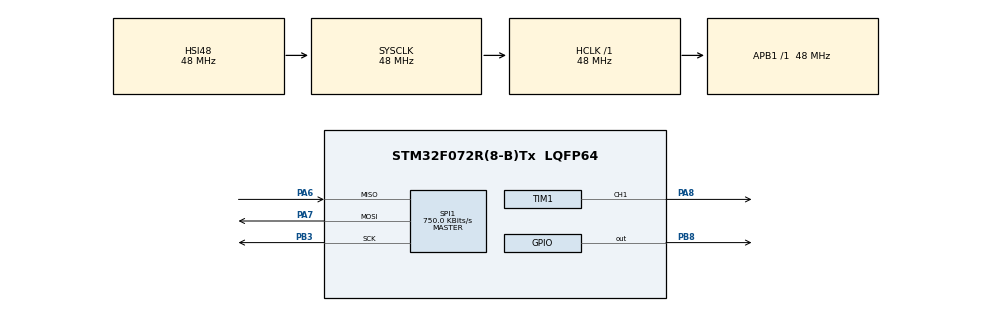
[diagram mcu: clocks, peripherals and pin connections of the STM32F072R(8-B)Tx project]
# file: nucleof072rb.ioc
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Mcu.Family=STM32F0
Mcu.Name=STM32F072R(8-B)Tx
Mcu.Package=LQFP64
PA6.Mode=Full_Duplex_Master
PA6.Signal=SPI1_MISO
PA7.Mode=Full_Duplex_Master
PA7.Signal=SPI1_MOSI
PA8.Signal=S_TIM1_CH1
PB3.Mode=Full_Duplex_Master
PB3.Signal=SPI1_SCK
PB8.Signal=GPIO_Output
ProjectManager.HeapSize=0x200
ProjectManager.StackSize=0x400
ProjectManager.TargetToolchain=STM32CubeIDE
RCC.AHBFreq_Value=48000000
RCC.APB1Freq_Value=48000000
RCC.APB1TimFreq_Value=48000000
RCC.FLatency-AdvancedSettings=FLASH_LATENCY_1
RCC.HCLKFreq_Value=48000000
RCC.PLLDivider=RCC_PREDIV_DIV2
RCC.PLLMUL=RCC_PLL_MUL12
RCC.PREFETCH_ENABLE-AdvancedSettings=1
RCC.SYSCLKFreq_VALUE=48000000
RCC.SYSCLKSource=RCC_SYSCLKSOURCE_HSI48
SH.S_TIM1_CH1.0=TIM1_CH1,PWM Generation1 CH1
SPI1.BaudRatePrescaler=SPI_BAUDRATEPRESCALER_64
SPI1.CalculateBaudRate=750.0 KBits/s
SPI1.DataSize=SPI_DATASIZE_8BIT
SPI1.Direction=SPI_DIRECTION_2LINES
SPI1.Mode=SPI_MODE_MASTER
SPI1.VirtualType=VM_MASTER
TIM1.Channel-PWM\ Generation1\ CH1=TIM_CHANNEL_1
TIM1.Period=64000
TIM1.Prescaler=14
VP_TIM1_VS_ClockSourceINT.Mode=Internal
board=NUCLEO-F072RB

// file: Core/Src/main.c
/* USER CODE BEGIN Header */
/**
  ******************************************************************************
  * @file           : main.c
  * @brief          : Main program body
  ******************************************************************************
  * @attention
  *
  * <h2><center>&copy; Copyright (c) 2021 STMicroelectronics.
  * All rights reserved.</center></h2>
  *
  * This software component is licensed by ST under BSD 3-Clause license,
  * the "License"; You may not use this file except in compliance with the
  * License. You may obtain a copy of the License at:
  *                        opensource.org/licenses/BSD-3-Clause
  *
  ******************************************************************************
  */
/* USER CODE END Header */
#include "main.h"
#include "spi.h"
#include "tim.h"
#include "gpio.h"

void SystemClock_Config(void);

/* USER CODE BEGIN PFP */
static uint16_t ADC_ReadChannel(uint8_t channel);
/* USER CODE END PFP */

/**
  */
int main(void)
{

  /* MCU Configuration--------------------------------------------------------*/

  /* Reset of all peripherals, Initializes the Flash interface and the systick. */
  HAL_Init();

  /* Configure the system clock */
  SystemClock_Config();

  /* Initialize all configured peripherals */
  MX_GPIO_Init();
  MX_SPI1_Init();
  MX_TIM1_Init();

  /* USER CODE BEGIN 2 */
  HAL_TIM_PWM_Start(&htim1, TIM_CHANNEL_1);
  /* USER CODE END 2 */

  /* Infinite loop */

  while (1)
  {

    /* USER CODE BEGIN 3 */
    uint16_t adcValue = ADC_ReadChannel(0);

    uint32_t pulseCounts = 3200 + (((uint32_t)adcValue * 3200) / 1023);

    __HAL_TIM_SET_COMPARE(&htim1, TIM_CHANNEL_1, pulseCounts);

    HAL_Delay(10);
  }
  /* USER CODE END 3 */
}

void SystemClock_Config(void)
{
  RCC_OscInitTypeDef RCC_OscInitStruct = {0};
  RCC_ClkInitTypeDef RCC_ClkInitStruct = {0};

  /** Initializes the RCC Oscillators according to the specified parameters
  * in the RCC_OscInitTypeDef structure.
  */
  RCC_OscInitStruct.OscillatorType = RCC_OSCILLATORTYPE_HSI48;
  RCC_OscInitStruct.HSI48State = RCC_HSI48_ON;
  RCC_OscInitStruct.PLL.PLLState = RCC_PLL_NONE;
  if (HAL_RCC_OscConfig(&RCC_OscInitStruct) != HAL_OK)
  {
    Error_Handler();
  }
  /** Initializes the CPU, AHB and APB buses clocks
  */
  RCC_ClkInitStruct.ClockType = RCC_CLOCKTYPE_HCLK|RCC_CLOCKTYPE_SYSCLK
                              |RCC_CLOCKTYPE_PCLK1;
  RCC_ClkInitStruct.SYSCLKSource = RCC_SYSCLKSOURCE_HSI48;
  RCC_ClkInitStruct.AHBCLKDivider = RCC_SYSCLK_DIV1;
  RCC_ClkInitStruct.APB1CLKDivider = RCC_HCLK_DIV1;

  if (HAL_RCC_ClockConfig(&RCC_ClkInitStruct, FLASH_LATENCY_1) != HAL_OK)
  {
    Error_Handler();
  }
}

/* USER CODE BEGIN 4 */
static uint16_t ADC_ReadChannel(uint8_t channel)
{
  uint8_t txBuffer[3];
  uint8_t rxBuffer[3];
  uint16_t result = 0;

  txBuffer[0] = 0x01;
  txBuffer[1] = (uint8_t)(0x80 | (channel << 4));
  txBuffer[2] = 0x00;

  HAL_GPIO_WritePin(GPIOB, GPIO_PIN_8, GPIO_PIN_RESET);

  if (HAL_SPI_TransmitReceive(&hspi1, txBuffer, rxBuffer, 3, HAL_MAX_DELAY) == HAL_OK)
  {
    result = (uint16_t)(((rxBuffer[1] & 0x03) << 8) | rxBuffer[2]);
  }

  HAL_GPIO_WritePin(GPIOB, GPIO_PIN_8, GPIO_PIN_SET);

  return result;
}
/* USER CODE END 4 */

void Error_Handler(void)
{
  __disable_irq();
  while (1)
  {
  }
}

/************************ (C) COPYRIGHT STMicroelectronics *****END OF FILE****/
